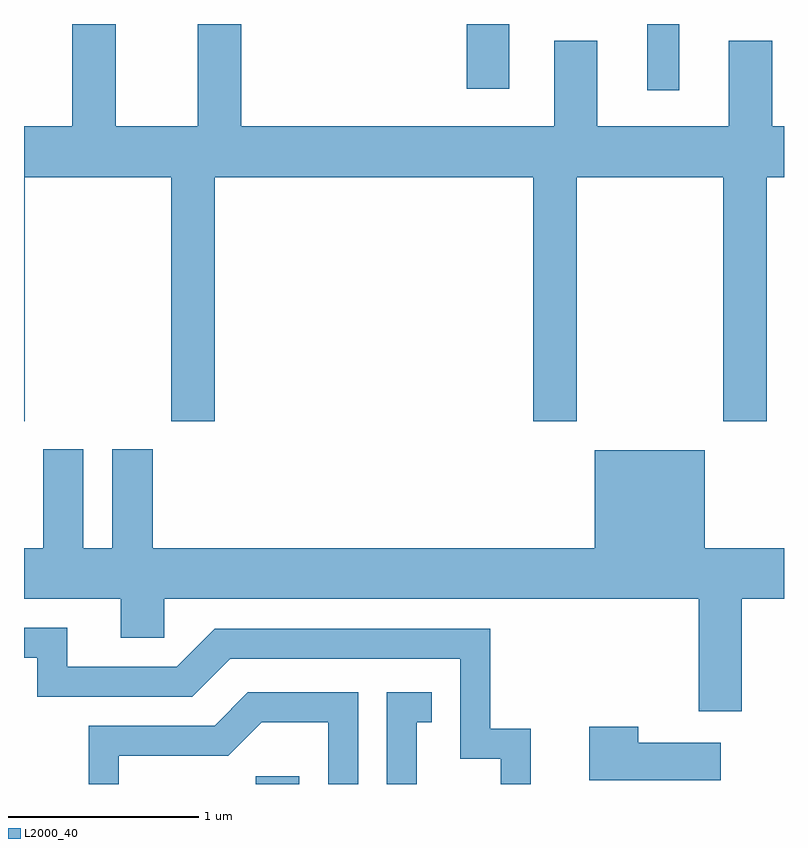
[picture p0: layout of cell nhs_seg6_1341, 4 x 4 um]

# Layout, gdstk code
import gdstk
lib = gdstk.Library(unit=1e-6, precision=1e-09)
def R(c, l, rs):  # rectangles x0, y0, x1, y1
    for r in rs: c.add(gdstk.rectangle(r[:2], r[2:], *l))
def P(c, l, *ps):  # polygons
    for p in ps: c.add(gdstk.Polygon(p, *l))
L2000_40 = (2000, 40)

nhs_seg6_1341 = lib.new_cell('nhs_seg6_1341')
R(nhs_seg6_1341, L2000_40, [(226.831,1560.162,227.059,1560.204), (228.891,1563.813,229.059,1564.162), (227.941,1563.821,228.164,1564.162)])
P(nhs_seg6_1341, L2000_40, [(225.614,1563.356),(226.386,1563.356),(226.386,1562.071),(226.614,1562.071),(226.614,1563.356),(228.291,1563.356),(228.291,1562.071),(228.519,1562.071),(228.519,1563.356),(229.291,1563.356),(229.291,1562.071),(229.519,1562.071),(229.519,1563.356),(229.611,1563.356),(229.611,1563.624),(229.549,1563.624),(229.549,1564.074),(229.321,1564.074),(229.321,1563.624),(228.629,1563.624),(228.629,1564.074),(228.401,1564.074),(228.401,1563.624),(226.754,1563.624),(226.754,1564.162),(226.526,1564.162),(226.526,1563.624),(226.094,1563.624),(226.094,1564.162),(225.866,1564.162),(225.866,1563.624),(225.611,1563.624),(225.611,1562.071),(225.614,1562.071)],
  [(226.076,1561.924),(226.076,1561.404),(225.924,1561.404),(225.924,1561.924),(225.711,1561.924),(225.711,1561.404),(225.611,1561.404),(225.611,1561.136),(226.121,1561.136),(226.121,1560.931),(226.349,1560.931),(226.349,1561.136),(229.161,1561.136),(229.161,1560.546),(229.389,1560.546),(229.389,1561.136),(229.611,1561.136),(229.611,1561.404),(229.194,1561.404),(229.194,1561.919),(228.616,1561.919),(228.616,1561.404),(226.289,1561.404),(226.289,1561.924)],
  [(228.279,1560.454),(228.064,1560.454),(228.064,1560.979),(226.614,1560.979),(226.414,1560.779),(225.839,1560.779),(225.839,1560.984),(225.611,1560.984),(225.611,1560.826),(225.681,1560.826),(225.681,1560.621),(226.497,1560.621),(226.697,1560.821),(227.906,1560.821),(227.906,1560.296),(228.121,1560.296),(228.121,1560.162),(228.279,1560.162)],
  [(226.109,1560.311),(226.687,1560.311),(226.862,1560.486),(227.211,1560.486),(227.211,1560.162),(227.369,1560.162),(227.369,1560.644),(226.789,1560.644),(226.614,1560.469),(225.951,1560.469),(225.951,1560.162),(226.109,1560.162)],
  [(227.679,1560.486),(227.758,1560.486),(227.758,1560.644),(227.521,1560.644),(227.521,1560.162),(227.679,1560.162)],
  [(229.279,1560.379),(228.844,1560.379),(228.844,1560.464),(228.586,1560.464),(228.586,1560.181),(229.279,1560.181)])

lib.write_gds('nhs_seg6_1341.gds')
